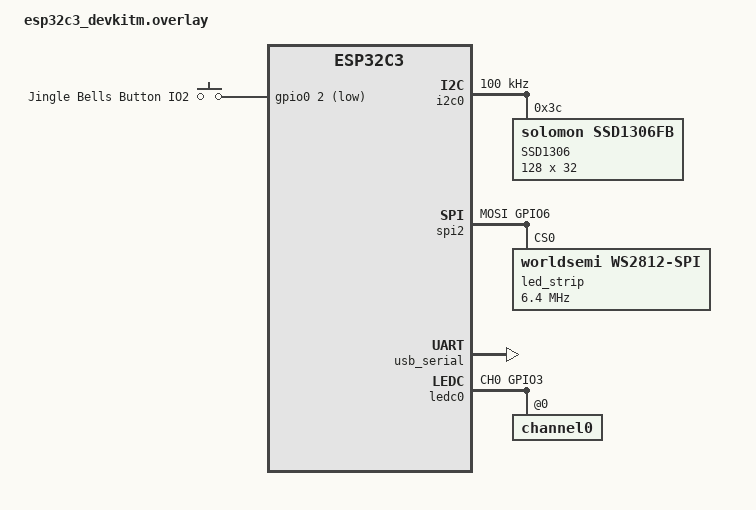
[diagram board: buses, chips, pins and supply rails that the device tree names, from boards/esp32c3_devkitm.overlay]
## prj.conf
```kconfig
CONFIG_LOG=y
CONFIG_I2C=y
CONFIG_SSD1306=y
CONFIG_SHELL=y
CONFIG_SHELL_PROMPT_UART="makerville:$ "
CONFIG_I2C_SHELL=y
CONFIG_DISPLAY=y
CONFIG_HEAP_MEM_POOL_SIZE=49152
CONFIG_CFB_LOG_LEVEL_DBG=y
CONFIG_CHARACTER_FRAMEBUFFER=y
CONFIG_CHARACTER_FRAMEBUFFER_SHELL=y
CONFIG_GPIO=y
CONFIG_MAIN_STACK_SIZE=8192
CONFIG_USB_DEVICE_STACK=y
CONFIG_SERIAL=y
CONFIG_KERNEL_BIN_NAME="makerville-badge"
CONFIG_SMF=y
CONFIG_INPUT=y
# CONFIG_BOOTLOADER_MCUBOOT=y

CONFIG_BT=y
CONFIG_BT_PERIPHERAL=y
CONFIG_BT_SMP=y
CONFIG_BT_DEVICE_NAME="Makerville Badge"
CONFIG_BT_DIS=y
CONFIG_BT_DIS_PNP=n
CONFIG_BT_DEVICE_APPEARANCE=768

# Bluetooth GATT configurations
CONFIG_BT_GATT_SERVICE_CHANGED=y
CONFIG_BT_GATT_DYNAMIC_DB=y
CONFIG_BT_GATT_CACHING=y

#Enable neopixel
CONFIG_LED_STRIP=y

#Enable PWM
CONFIG_PWM=y
```

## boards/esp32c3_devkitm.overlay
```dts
#include <zephyr/dt-bindings/led/led.h>
#include <zephyr/dt-bindings/input/input-event-codes.h>

/ {
	chosen {
		zephyr,display = &ssd1306;
		zephyr,console = &usb_serial;
		zephyr,shell-uart = &usb_serial;
	};

	aliases {
		led-strip = &led_strip;
		pwm-buzzer = &ledc0;
	};

	gpio_keys {
		compatible = "gpio-keys";

		jingle_button: button_jingle {
			label = "Jingle Bells Button IO2";
			gpios = <&gpio0 2 GPIO_ACTIVE_LOW>;
			zephyr,code = <INPUT_KEY_1>;
		};
	};
};

&i2c0 {
	status = "okay";
	pinctrl-0 = <&i2c0_default>;
	pinctrl-names = "default";
	clock-frequency = <100000>;

	ssd1306: ssd1306@3c {
		status = "okay";
		compatible = "solomon,ssd1306fb";
		reg = <0x3c>;
		label = "SSD1306";
		width = <128>;
		height = <32>;
		segment-offset = <0>;
		page-offset = <0>;
		display-offset = <0>;
		multiplex-ratio = <31>;
		prechargep = <0x22>;
		com-invdir;
		segment-remap;
	};
};

&spi2 {
	pinctrl-0 = <&spim2_default>;
	pinctrl-names = "default";

	/* Workaround to support WS2812 driver */
	line-idle-low;

	led_strip: ws2812@0 {
		compatible = "worldsemi,ws2812-spi";

		/* SPI */
		reg = <0>; /* ignored, but necessary for SPI bindings */
		spi-max-frequency = <6400000>;

		/* WS2812 */
		chain-length = <1>; /* only one neopixel on board */
		spi-cpha;
		spi-one-frame = <0xf0>; /* 11110000: 625 ns high and 625 ns low */
		spi-zero-frame = <0xc0>; /* 11000000: 312.5 ns high and 937.5 ns low */
		color-mapping = <LED_COLOR_ID_GREEN
				 LED_COLOR_ID_RED
				 LED_COLOR_ID_BLUE>;
	};
};

&pinctrl {
	i2c0_default: i2c0_default {
		group1 {
			pinmux = <I2C0_SDA_GPIO7>, <I2C0_SCL_GPIO8>;
			bias-pull-up;
			drive-open-drain;
			output-high;
		};
	};

	spim2_default: spim2_default {
		group2 {
			pinmux = <SPIM2_MOSI_GPIO6>;
		};
	};

	ledc0_default: ledc0_default {
		group3 {
			pinmux = <LEDC_CH0_GPIO3>;
			output-enable;
		};
	};
};

&usb_serial {
	status = "okay";
};

&ledc0 {
	pinctrl-0 = <&ledc0_default>;
	pinctrl-names = "default";
	status = "okay";
	#address-cells = <1>;
	#size-cells = <0>;

	channel0@0 {
		reg = <0x0>;
		timer = <0>;
	};
};

// &spi1 {
//   status = "okay";
//   compatible = "espressif,esp32-spi";
//   led_strip: led_strip@0 {
//     compatible = "worldsemi,ws2812";
//     reg = <0>;
//     spi-max-frequency = <10000000>;
//     chain-length = <1>;
//     spi-bus-width = <1>;
//   };
// }
```

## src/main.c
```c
#include <zephyr/kernel.h>
#include <zephyr/logging/log.h>
#include <zephyr/drivers/display.h>
#include <zephyr/device.h>
#include <zephyr/devicetree.h>
#include <zephyr/display/cfb.h>
#include <zephyr/drivers/gpio.h>
#include <zephyr/smf.h>
#include <zephyr/input/input.h>
#include <zephyr/types.h>
#include <zephyr/sys/byteorder.h>
#include <zephyr/bluetooth/bluetooth.h>
#include <zephyr/bluetooth/hci.h>
#include <zephyr/bluetooth/conn.h>
#include <zephyr/bluetooth/uuid.h>
#include <zephyr/bluetooth/gatt.h>
#include <zephyr/shell/shell.h>
#include <zephyr/drivers/led_strip.h>
#include <zephyr/drivers/pwm.h>
#include <string.h>
#include <stdlib.h>
#define LOG_LEVEL LOG_LEVEL_DGB
LOG_MODULE_REGISTER(badge_shell);

#define STRIP_NODE  DT_ALIAS(led_strip)
#if !DT_NODE_HAS_STATUS(STRIP_NODE, okay)
#error "LED strip device not defined in devicetree"
#endif

#define STRIP_NUM_PIXELS DT_PROP(STRIP_NODE, chain_length)
#define LED_DELAY  K_MSEC(600)
#define RGB(_r, _g, _b) ((struct led_rgb) { .r = (_r), .g = (_g), .b = (_b)})
static const struct device *const strip = DEVICE_DT_GET(STRIP_NODE);

static struct led_rgb pixels[STRIP_NUM_PIXELS];

// PWM Buzzer definitions
#define PWM_BUZZER_NODE DT_ALIAS(pwm_buzzer)
static const struct device *const pwm_buzzer = DEVICE_DT_GET(PWM_BUZZER_NODE);
#define PWM_CHANNEL 0

static void set_led_color(struct led_rgb color)
{
  for (int i = 0; i < STRIP_NUM_PIXELS; i++){
    pixels[i] = color;
  }
  int rc = led_strip_update_rgb(strip, pixels, STRIP_NUM_PIXELS);
  if(rc){
    LOG_ERR("led strip update failed: %d",rc);
  }else{
    LOG_INF("LED color set: R=%u G=%u B=%u", color.r, color.g, color.b);
  }
}

// Buzzer helper function to play a tone
static void play_tone(uint32_t frequency_hz, uint32_t duration_ms)
{
  // Use a fixed period for silence/off state to avoid prescaler issues
  #define PWM_OFF_PERIOD_NS 1000000  // 1ms period = 1kHz

  if (frequency_hz == 0) {
    // Silence - set 0% duty cycle with fixed period
    pwm_set(pwm_buzzer, PWM_CHANNEL, PWM_OFF_PERIOD_NS, 0, 0);
    k_msleep(duration_ms);
    return;
  }

  uint32_t period_ns = NSEC_PER_SEC / frequency_hz;
  uint32_t pulse_ns = period_ns / 2; // 50% duty cycle

  int ret = pwm_set(pwm_buzzer, PWM_CHANNEL, period_ns, pulse_ns, 0);
  if (ret) {
    LOG_ERR("Failed to set PWM: %d", ret);
    return;
  }

  k_msleep(duration_ms);

  // Turn off after duration - use fixed period with 0% duty cycle
  pwm_set(pwm_buzzer, PWM_CHANNEL, PWM_OFF_PERIOD_NS, 0, 0);
}

// Buzzer sequence 0: Single beep
static void buzzer_sequence_0(void)
{
  LOG_INF("Buzzer sequence 0: Single beep");
  play_tone(2000, 200); // 2kHz for 200ms
  k_msleep(100);
}

// Buzzer sequence 1: Double beep
static void buzzer_sequence_1(void)
{
  LOG_INF("Buzzer sequence 1: Double beep");
  play_tone(2500, 150); // 2.5kHz for 150ms
  k_msleep(100);
  play_tone(2500, 150); // 2.5kHz for 150ms
  k_msleep(100);
}

// Buzzer sequence 2: Ascending tones
static void buzzer_sequence_2(void)
{
  LOG_INF("Buzzer sequence 2: Ascending tones");
  play_tone(1000, 100); // 1kHz for 100ms
  k_msleep(50);
  play_tone(1500, 100); // 1.5kHz for 100ms
  k_msleep(50);
  play_tone(2000, 100); // 2kHz for 100ms
  k_msleep(50);
  play_tone(2500, 200); // 2.5kHz for 200ms
  k_msleep(100);
}

// Buzzer sequence 3: Jingle Bells (Extended)
static void buzzer_sequence_3(void)
{
  LOG_INF("Buzzer sequence 3: Jingle Bells (Extended)");

  // Set LED to green for first line
  set_led_color(RGB(0, 255, 0)); // Green

  // Line 1: Jingle bells, jingle bells, jingle all the way
  // E E E - E E E - E G C D E
  play_tone(330, 200); // E
  k_msleep(50);
  play_tone(330, 200); // E
  k_msleep(50);
  play_tone(330, 400); // E (longer)
  k_msleep(100);

  play_tone(330, 200); // E
  k_msleep(50);
  play_tone(330, 200); // E
  k_msleep(50);
  play_tone(330, 400); // E (longer)
  k_msleep(100);

  play_tone(330, 200); // E
  k_msleep(50);
  play_tone(392, 200); // G
  k_msleep(50);
  play_tone(262, 300); // C
  k_msleep(50);
  play_tone(294, 200); // D
  k_msleep(50);
  play_tone(330, 600); // E (longest)
  k_msleep(200);

  // Set LED to red for second line
  set_led_color(RGB(255, 0, 0)); // Red

  // Line 2: Oh what fun it is to ride in a one-horse open sleigh
  // F F F F - F E E E - E D D E - D G
  play_tone(349, 200); // F
  k_msleep(50);
  play_tone(349, 200); // F
  k_msleep(50);
  play_tone(349, 200); // F
  k_msleep(50);
  play_tone(349, 200); // F
  k_msleep(100);

  play_tone(349, 200); // F
  k_msleep(50);
  play_tone(330, 200); // E
  k_msleep(50);
  play_tone(330, 200); // E
  k_msleep(50);
  play_tone(330, 200); // E
  k_msleep(100);

  play_tone(330, 200); // E
  k_msleep(50);
  play_tone(294, 200); // D
  k_msleep(50);
  play_tone(294, 200); // D
  k_msleep(50);
  play_tone(330, 200); // E
  k_msleep(50);
  play_tone(294, 400); // D
  k_msleep(100);
  play_tone(392, 400); // G
  k_msleep(200);

  // Set LED to white for third line
  set_led_color(RGB(255, 255, 255)); // White

  // Line 3: Jingle bells, jingle bells, jingle all the way (repeat)
  // E E E - E E E - E G C D E
  play_tone(330, 200); // E
  k_msleep(50);
  play_tone(330, 200); // E
  k_msleep(50);
  play_tone(330, 400); // E (longer)
  k_msleep(100);

  play_tone(330, 200); // E
  k_msleep(50);
  play_tone(330, 200); // E
  k_msleep(50);
  play_tone(330, 400); // E (longer)
  k_msleep(100);

  play_tone(330, 200); // E
  k_msleep(50);
  play_tone(392, 200); // G
  k_msleep(50);
  play_tone(262, 300); // C
  k_msleep(50);
  play_tone(294, 200); // D
  k_msleep(50);
  play_tone(330, 600); // E (longest)
  k_msleep(200);

  // Set LED to green for fourth line
  set_led_color(RGB(0, 255, 0)); // Green

  // Line 4: Oh what fun it is to ride in a one-horse open sleigh (ending)
  // F F F F - F E E E - G G F D C
  play_tone(349, 200); // F
  k_msleep(50);
  play_tone(349, 200); // F
  k_msleep(50);
  play_tone(349, 200); // F
  k_msleep(50);
  play_tone(349, 200); // F
  k_msleep(100);

  play_tone(349, 200); // F
  k_msleep(50);
  play_tone(330, 200); // E
  k_msleep(50);
  play_tone(330, 200); // E
  k_msleep(50);
  play_tone(330, 200); // E
  k_msleep(100);

  play_tone(392, 200); // G
  k_msleep(50);
  play_tone(392, 200); // G
  k_msleep(50);
  play_tone(349, 200); // F
  k_msleep(50);
  play_tone(294, 200); // D
  k_msleep(50);
  play_tone(262, 600); // C (final note)
  k_msleep(100);

  // Turn off LED when done
  set_led_color(RGB(0, 0, 0)); // Off
}

static int cmd_buzzer(const struct shell *shell, size_t argc, char **argv)
{
  if (!device_is_ready(pwm_buzzer)) {
    shell_error(shell, "PWM buzzer device not ready");
    return -ENODEV;
  }

  if (argc != 2) {
    shell_print(shell, "Usage: buzzer <0|1|2|3>");
    shell_print(shell, "  0: Single beep");
    shell_print(shell, "  1: Double beep");
    shell_print(shell, "  2: Ascending tones");
    shell_print(shell, "  3: Jingle Bells");
    return -EINVAL;
  }

  char *endptr;
  long sequence = strtol(argv[1], &endptr, 10);
  if (*endptr != '\0' || sequence < 0 || sequence > 3) {
    shell_error(shell, "Invalid sequence. Use 0, 1, 2, or 3");
    return -EINVAL;
  }

  switch (sequence) {
    case 0:
      buzzer_sequence_0();
      break;
    case 1:
      buzzer_sequence_1();
      break;
    case 2:
      buzzer_sequence_2();
      break;
    case 3:
      buzzer_sequence_3();
      break;
  }

  return 0;
}

static int cmd_led(const struct shell *shell, size_t argc, char **argv)
{
  if (argc != 4){
    shell_print(shell, "Usage: led <red> <green> <blue> (each 0-255)");
    return -EINVAL;
  }

  char *endptr;
  long r = strtol(argv[1], &endptr, 10);
  if (*endptr != '\0' || r < 0 || r > 255) {
    shell_error(shell, "Invalid red value (0-255)");
    return -EINVAL;
  }
  long g = strtol(argv[2], &endptr, 10);
  if (*endptr != '\0' || g < 0 || g > 255) {
    shell_error(shell, "Invalid green value (0-255)");
    return -EINVAL;
  }
  long b = strtol(argv[3], &endptr, 10);
  if (*endptr != '\0' || b < 0 || b > 255) {
    shell_error(shell, "Invalid blue value (0-255)");
    return -EINVAL;
  }

  set_led_color(RGB((uint8_t)r, (uint8_t)g, (uint8_t)b));
  return 0;
}

SHELL_CMD_REGISTER(buzzer, NULL, "Play buzzer sequence (0, 1, 2, or 3)", cmd_buzzer);
SHELL_CMD_REGISTER(led, NULL, "Set LED color (r, g, b)", cmd_led);


static const struct smf_state badge_states[];

enum badge_state {
  BADGE_STATE_INIT,
  BADGE_STATE_IDLE,
  BADGE_STATE_ERROR,
};

enum badge_event {
  BADGE_EVENT_DISPLAY_ERROR,
  BADGE_EVENT_BLE_ERROR,
  BADGE_EVENT_SHORT_BUTTON_PRESS,
  BADGE_EVENT_LONG_BUTTON_PRESS,
};

// Forward declarations
void display_text(char* text);
void gen_event(enum badge_event event);

struct global_context{
  int64_t button_press_time;
} gc;

K_MSGQ_DEFINE(event_msgq, sizeof(enum badge_event), 10,1);

struct s_object {
  struct smf_ctx ctx;
  enum badge_event event;
}s_obj;

//LOG_MODULE_REGISTER(BADGE, LOG_LEVEL_DBG);
const struct device *display_dev;

// Define work queue for display operations
K_THREAD_STACK_DEFINE(display_stack, 1024);
struct k_work_q display_work_q;

// Structure to hold display text work
struct display_work_item {
    struct k_work work;
    char text[32];
    bool update_text;
};

// Create a single work item that we'll reuse
static struct display_work_item display_item;

// BLE service UUIDs
#define BADGE_SERVICE_UUID 0x1234
#define BADGE_CHARACTERISTIC_UUID 0x5678

// BLE service data
static uint8_t badge_data[32] = "Makerville Badge";

// Read callback for the characteristic
static ssize_t read_badge_data(struct bt_conn *conn,
                             const struct bt_gatt_attr *attr,
                             void *buf, uint16_t len, uint16_t offset)
{
    return bt_gatt_attr_read(conn, attr, buf, len, offset, badge_data,
                            strlen(badge_data));
}

// Write callback for the characteristic
static ssize_t write_badge_data(struct bt_conn *conn,
                              const struct bt_gatt_attr *attr,
                              const void *buf, uint16_t len, uint16_t offset,
                              uint8_t flags)
{
    if (offset + len > sizeof(badge_data)) {
        return BT_GATT_ERR(BT_ATT_ERR_INVALID_OFFSET);
    }

    memcpy(badge_data + offset, buf, len);
    badge_data[len] = '\0';  // Ensure null termination

    LOG_INF("Received data: %s", badge_data);
    display_text(badge_data);
    return len;
}

static struct bt_gatt_attr attrs[] = {
    BT_GATT_PRIMARY_SERVICE(BT_UUID_DECLARE_16(BADGE_SERVICE_UUID)),
    BT_GATT_CHARACTERISTIC(BT_UUID_DECLARE_16(BADGE_CHARACTERISTIC_UUID),
                          BT_GATT_CHRC_READ | BT_GATT_CHRC_WRITE,
                          BT_GATT_PERM_READ | BT_GATT_PERM_WRITE,
                          read_badge_data, write_badge_data, badge_data),
};

static struct bt_gatt_service badge_service = {
    .attrs = attrs,
    .attr_count = ARRAY_SIZE(attrs),
};

// Helper function to start advertising
static int start_advertising(void)
{
    int err;

    // Stop any existing advertising first
    err = bt_le_adv_stop();
    if (err) {
        LOG_ERR("Failed to stop advertising (err %d)", err);
        // Continue anyway as we want to try starting
    }

    struct bt_le_adv_param param = {
        .id = 0,
        .sid = 0,
        .secondary_max_skip = 0,
        .options = BT_LE_ADV_OPT_CONN  | BT_LE_ADV_OPT_USE_NAME,
        .interval_min = BT_GAP_ADV_FAST_INT_MIN_2,
        .interval_max = BT_GAP_ADV_FAST_INT_MAX_2,
        .peer = NULL,
    };
    /* wait for 1 second */
    k_msleep(1000);
    err = bt_le_adv_start(&param, NULL, 0, NULL, 0);
    if (err) {
        LOG_ERR("Advertising failed to start (err %d)", err);
        return err;
    }

    LOG_INF("Advertising started");
    return 0;
}

// BLE connection callback
static void connected(struct bt_conn *conn, uint8_t err)
{
    if (err) {
        LOG_ERR("Connection failed (err %u)", err);
        gen_event(BADGE_EVENT_BLE_ERROR);
    } else {
        LOG_INF("Connected");
    }
}

static void disconnected(struct bt_conn *conn, uint8_t reason)
{
    LOG_INF("Disconnected (reason %u)", reason);

    // Restart advertising
    int err = start_advertising();
    if (err) {
        LOG_ERR("Failed to restart advertising (err %d)", err);
        gen_event(BADGE_EVENT_BLE_ERROR);
    }
}

BT_CONN_CB_DEFINE(conn_callbacks) = {
    .connected = connected,
    .disconnected = disconnected,
};

// BLE initialization function
static int ble_init(void)
{
    int err;

    err = bt_enable(NULL);
    if (err) {
        LOG_ERR("Bluetooth init failed (err %d)", err);
        gen_event(BADGE_EVENT_BLE_ERROR);
        return err;
    }

    LOG_INF("Bluetooth initialized");

    err = bt_gatt_service_register(&badge_service);
    if (err) {
        LOG_ERR("Service registration failed (err %d)", err);
        gen_event(BADGE_EVENT_BLE_ERROR);
        return err;
    }

    return start_advertising();
}

/* Send a message to the display thread */
void message_display_thread(char* text)
{
  LOG_INF("Message display thread");
}

void gen_event(enum badge_event event)
{
  k_msgq_put(&event_msgq, (void*)&event, K_NO_WAIT);
}

int display_init()
{
  uint16_t x_res;
	uint16_t y_res;
	uint16_t rows;
	uint8_t ppt;

	if (display_set_pixel_format(display_dev, PIXEL_FORMAT_MONO10) != 0) {
		if (display_set_pixel_format(display_dev, PIXEL_FORMAT_MONO01) != 0) {
			printf("Failed to set required pixel format");
			return 0;
		}
	}

	printf("Initialized %s\n", display_dev->name);

	if (cfb_framebuffer_init(display_dev)) {
		printf("Framebuffer initialization failed!\n");
		return 0;
	}

	cfb_framebuffer_clear(display_dev, true);

	display_blanking_off(display_dev);

	x_res = cfb_get_display_parameter(display_dev, CFB_DISPLAY_WIDTH);
	y_res = cfb_get_display_parameter(display_dev, CFB_DISPLAY_HEIGHT);
	rows = cfb_get_display_parameter(display_dev, CFB_DISPLAY_ROWS);
	ppt = cfb_get_display_parameter(display_dev, CFB_DISPLAY_PPT);

	/* for (int idx = 0; idx < 42; idx++) { */
	/* 	if (cfb_get_font_size(display_dev, idx, &font_width, &font_height)) { */
	/* 		break; */
	/* 	} */
	/* 	cfb_framebuffer_set_font(display_dev, idx); */
	/* 	printf("font width %d, font height %d\n", */
	/* 	       font_width, font_height); */
  /*   if (idx==2) */
  /*     break; */
	/* } */
  cfb_framebuffer_set_font(display_dev, 2);

	printf("x_res %d, y_res %d, ppt %d, rows %d, cols %d\n",
	       x_res,
	       y_res,
	       ppt,
	       rows,
	       cfb_get_display_parameter(display_dev, CFB_DISPLAY_COLS));

	/* cfb_framebuffer_invert(display_dev); */

	cfb_set_kerning(display_dev, 0);
  return 0;
}

void display_work_handler(struct k_work *work)
{
    struct display_work_item *display_item = CONTAINER_OF(work, struct display_work_item, work);
    int x_res = cfb_get_display_parameter(display_dev, CFB_DISPLAY_WIDTH);
    int text_len = strlen(display_item->text);
    int char_width = 20; // Approximate width of each character
    int total_width = text_len * char_width;
    int x_pos = x_res; // Start from right edge

    // Clear the display once at the start
    cfb_framebuffer_clear(display_dev, true);

    while (1) {
        // Only clear the area that needs updating
        cfb_framebuffer_clear(display_dev, false);

        // Scroll the text from right to left
        while (x_pos > -total_width) {
            // Clear only the area that needs updating
            cfb_framebuffer_clear(display_dev, false);
            cfb_print(display_dev, display_item->text, x_pos, 0);
            cfb_framebuffer_finalize(display_dev);
            x_pos -= 4; // Faster scroll speed
            k_msleep(10); // Shorter delay between updates
        }

        // Reset position for next iteration
        x_pos = x_res;

        // If text was updated, break the loop to restart with new text
        if (display_item->update_text) {
            display_item->update_text = false;
            // Clear the display for the new text
            cfb_framebuffer_clear(display_dev, true);
            break;
        }
    }

    // Resubmit the work to continue scrolling
    k_work_submit_to_queue(&display_work_q, &display_item->work);
}

void display_text(char* text)
{
    // Copy the text to the work item
    strncpy(display_item.text, text, sizeof(display_item.text) - 1);
    display_item.text[sizeof(display_item.text) - 1] = '\0';
    display_item.update_text = true;

    // Submit the work to the display queue
    k_work_submit_to_queue(&display_work_q, &display_item.work);
}

int index;
#define MAX_STRINGS 3
char text[MAX_STRINGS][32]= {
  "Anuj Deshpande",
  "anujdeshpande.com",
  "Interested in developer tools!"
};

void badge_init_entry(void* arg)
{
  LOG_INF("Badge init entry");
  if (!device_is_ready(strip)){
    LOG_ERR("LED strip not ready");
    return ;
  }
  LOG_INF("LED strip ready. Use shell command: led r/g/b");
  set_led_color(RGB(0, 0, 0)); // Default: off
  // Initialize display work queue
  k_work_queue_init(&display_work_q);
  k_work_queue_start(&display_work_q, display_stack, K_THREAD_STACK_SIZEOF(display_stack),
                    K_PRIO_COOP(7), NULL);

  // Initialize display work item
  k_work_init(&display_item.work, display_work_handler);
  display_item.update_text = false;

  display_dev = DEVICE_DT_GET(DT_CHOSEN(zephyr_display));
  if (!device_is_ready(display_dev)) {
    printk("Display_Device %s not ready\n", display_dev->name);
    smf_set_state(SMF_CTX(&s_obj), &badge_states[BADGE_STATE_ERROR]);
    gen_event(BADGE_EVENT_DISPLAY_ERROR);
    return;
  }

  LOG_INF("SSD1306 device found\n");
  display_init();

  // Initialize Bluetooth
  int err = ble_init();
  if (err) {
    LOG_ERR("Bluetooth initialization failed");
    smf_set_state(SMF_CTX(&s_obj), &badge_states[BADGE_STATE_ERROR]);
    gen_event(BADGE_EVENT_BLE_ERROR);
    return;
  }

  smf_set_state(SMF_CTX(&s_obj), &badge_states[BADGE_STATE_IDLE]);
}

void badge_init_exit(void* arg)
{
  LOG_INF("Badge init exit");
}

void badge_idle_entry(void* arg)
{
  LOG_INF("Badge idle entry");
  display_text("Makerville Badge");
}

enum smf_state_result badge_idle_run(void* arg)
{
  struct s_object *obj = (struct s_object *)arg;

  switch(obj->event) {
    case BADGE_EVENT_SHORT_BUTTON_PRESS:
      LOG_INF("Short button pressed when IDLE");
      display_text("Short button press");
      break;
    case BADGE_EVENT_LONG_BUTTON_PRESS:
      LOG_INF("Long button pressed when IDLE");
      display_text("Long button press");
      break;
    case BADGE_EVENT_BLE_ERROR:
      smf_set_state(SMF_CTX(&s_obj), &badge_states[BADGE_STATE_ERROR]);
      gen_event(BADGE_EVENT_BLE_ERROR);
      break;
    default:
      LOG_INF("Unhandled event in idle state %d", obj->event);
      break;
  }
  return 0;
}

void badge_idle_exit(void* arg)
{
  LOG_INF("Badge idle exit");
}

void badge_error_entry(void* arg)
{
  LOG_INF("Badge error entry");
}

enum smf_state_result badge_error_run(void* arg)
{

  struct s_object *obj = (struct s_object *)arg;
  switch(obj->event) {
    case BADGE_EVENT_DISPLAY_ERROR:
      LOG_INF("Display error - can only show this");
      break;
    case BADGE_EVENT_BLE_ERROR:
      display_text("BLE error");
      break;
    default:
      LOG_INF("Unhandled event in error state %d", obj->event);
      break;
  }
  return 0;
}

void badge_error_exit(void* arg)
{
  LOG_INF("Badge error exit");
}

static const struct smf_state badge_states[] = {
  [BADGE_STATE_INIT] = SMF_CREATE_STATE(badge_init_entry, NULL, NULL,NULL,NULL),
  [BADGE_STATE_IDLE] = SMF_CREATE_STATE(badge_idle_entry, badge_idle_run, badge_idle_exit,NULL,NULL),
  [BADGE_STATE_ERROR] = SMF_CREATE_STATE(badge_error_entry, badge_error_run, badge_error_exit,NULL,NULL),
};

void input_cb(struct input_event *event, void *cb_arg)
{
    if (event->type == INPUT_EV_KEY) {
        if (event->code == INPUT_KEY_0) {
            if (event->value == 1) {
                // Button pressed
                LOG_INF("Button IO9 pressed");
                gc.button_press_time = k_uptime_get();
            } else if (event->value == 0) {
                // Button released - play jingle bells
                LOG_INF("Button IO9 released - playing jingle bells");
                display_text("Merry Christmas from Makerville");
                if (device_is_ready(pwm_buzzer)) {
                    buzzer_sequence_3();
                } else {
                    LOG_ERR("PWM buzzer device not ready");
                }
                // Restore default message
                display_text("Makerville Badge");

                // Also generate state machine events based on press duration
                int64_t press_duration = k_uptime_get() - gc.button_press_time;
                if(press_duration > 1000) {
                  LOG_INF("Long button press");
                  gen_event(BADGE_EVENT_LONG_BUTTON_PRESS);
                } else {
                  LOG_INF("Short button press");
                  gen_event(BADGE_EVENT_SHORT_BUTTON_PRESS);
                }
            }
        } else if (event->code == INPUT_KEY_1) {
            if (event->value == 0) {
                // Button released - play jingle bells
                LOG_INF("Button IO2 released - playing jingle bells");
                display_text("Merry Christmas from Makerville");
                if (device_is_ready(pwm_buzzer)) {
                    buzzer_sequence_3();
                } else {
                    LOG_ERR("PWM buzzer device not ready");
                }
                // Restore default message
                display_text("Makerville Badge");
            }
        }
    }
}

INPUT_CALLBACK_DEFINE(NULL, input_cb,NULL);
int main(void)
{
  int32_t ret;
  int rc;

  smf_set_initial(SMF_CTX(&s_obj), &badge_states[BADGE_STATE_INIT]);
  while(1) {
    rc = k_msgq_get(&event_msgq, &s_obj.event, K_NO_WAIT);
    if(rc == 0) {
      ret = smf_run_state(SMF_CTX(&s_obj));
      if (ret != 0) {
        LOG_ERR("SMF error: %d", ret);
      }
    }
    k_msleep(10);
  }
  return 0;
}
```
